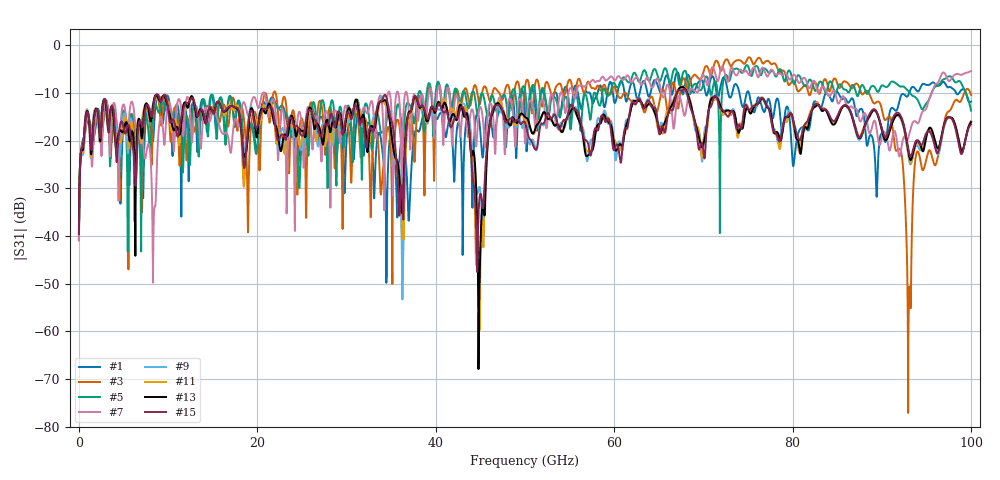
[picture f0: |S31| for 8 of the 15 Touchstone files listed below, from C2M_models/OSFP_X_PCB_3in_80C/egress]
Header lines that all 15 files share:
# GHz S RI R 45
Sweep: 25 MHz to 100 GHz
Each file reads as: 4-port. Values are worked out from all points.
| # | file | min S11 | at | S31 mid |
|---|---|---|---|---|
| 1 | C2M_X_OSFP224_3in_host_PCB_80C_FEXT_TP0_Tx1_to_TP1a_Tx7.s4p | -46.1 dB | 16.48 GHz | -14.8 dB at 50.02 GHz |
| 2 | C2M_X_OSFP224_3in_host_PCB_80C_FEXT_TP0_Tx2_to_TP1a_Tx7.s4p | -51.2 dB | 13.68 GHz | -13.8 dB at 50.02 GHz |
| 3 | C2M_X_OSFP224_3in_host_PCB_80C_FEXT_TP0_Tx3_to_TP1a_Tx7.s4p | -53.2 dB | 22.4 GHz | -8.6 dB at 50.02 GHz |
| 4 | C2M_X_OSFP224_3in_host_PCB_80C_FEXT_TP0_Tx4_to_TP1a_Tx7.s4p | -38.2 dB | 6.675 GHz | -8.6 dB at 50.02 GHz |
| 5 | C2M_X_OSFP224_3in_host_PCB_80C_FEXT_TP0_Tx5_to_TP1a_Tx7.s4p | -43.9 dB | 18.52 GHz | -9.6 dB at 50.02 GHz |
| 6 | C2M_X_OSFP224_3in_host_PCB_80C_FEXT_TP0_Tx6_to_TP1a_Tx7.s4p | -47.2 dB | 24.6 GHz | -11.3 dB at 50.02 GHz |
| 7 | C2M_X_OSFP224_3in_host_PCB_80C_FEXT_TP0_Tx8_to_TP1a_Tx7.s4p | -45.9 dB | 12.7 GHz | -20.6 dB at 50.02 GHz |
| 8 | C2M_X_OSFP224_3in_host_PCB_80C_NEXT_TP1a_Rx1_to_TP1a_Tx7.s4p | -40.0 dB | 34.17 GHz | -15.7 dB at 50.02 GHz |
| 9 | C2M_X_OSFP224_3in_host_PCB_80C_NEXT_TP1a_Rx2_to_TP1a_Tx7.s4p | -54.3 dB | 4.625 GHz | -15.9 dB at 50.02 GHz |
| 10 | C2M_X_OSFP224_3in_host_PCB_80C_NEXT_TP1a_Rx3_to_TP1a_Tx7.s4p | -43.1 dB | 8.75 GHz | -13.5 dB at 50.02 GHz |
| 11 | C2M_X_OSFP224_3in_host_PCB_80C_NEXT_TP1a_Rx4_to_TP1a_Tx7.s4p | -37.8 dB | 18.4 GHz | -15.6 dB at 50.02 GHz |
| 12 | C2M_X_OSFP224_3in_host_PCB_80C_NEXT_TP1a_Rx5_to_TP1a_Tx7.s4p | -49.8 dB | 45.23 GHz | -13.3 dB at 50.02 GHz |
| 13 | C2M_X_OSFP224_3in_host_PCB_80C_NEXT_TP1a_Rx6_to_TP1a_Tx7.s4p | -33.8 dB | 28.18 GHz | -15.1 dB at 50.02 GHz |
| 14 | C2M_X_OSFP224_3in_host_PCB_80C_NEXT_TP1a_Rx7_to_TP1a_Tx7.s4p | -38.1 dB | 33.98 GHz | -14.8 dB at 50.02 GHz |
| 15 | C2M_X_OSFP224_3in_host_PCB_80C_NEXT_TP1a_Rx8_to_TP1a_Tx7.s4p | -50.3 dB | 18.62 GHz | -16.3 dB at 50.02 GHz |
